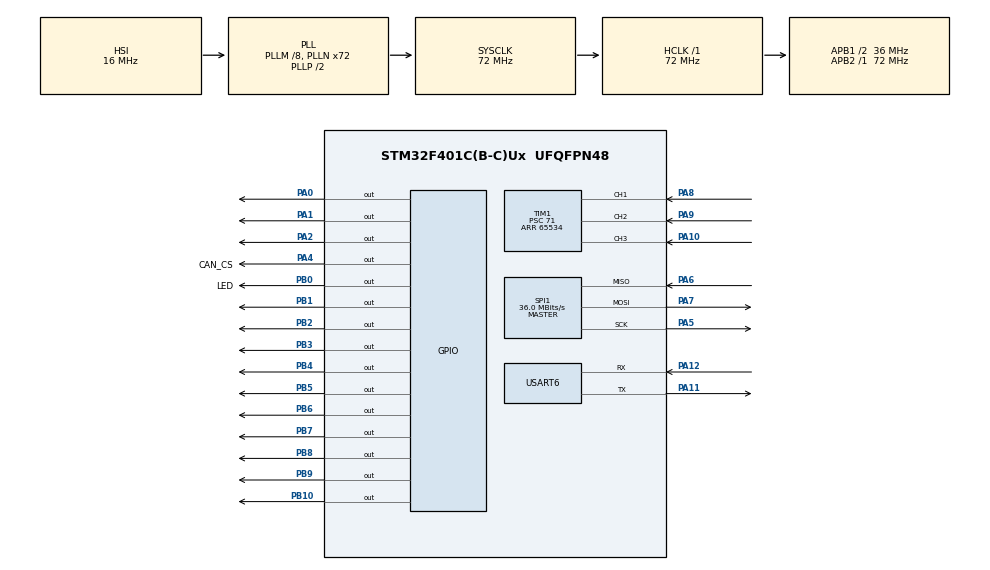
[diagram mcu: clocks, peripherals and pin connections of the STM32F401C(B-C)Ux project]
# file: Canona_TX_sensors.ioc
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Mcu.Family=STM32F4
Mcu.Name=STM32F401C(B-C)Ux
Mcu.Package=UFQFPN48
NVIC.PriorityGroup=NVIC_PRIORITYGROUP_4
NVIC.TIM1_CC_IRQn=true\:0\:0\:false\:false\:true\:true\:true\:true
PA0-WKUP.Signal=GPIO_Output
PA1.Signal=GPIO_Output
PA10.Signal=S_TIM1_CH3
PA11.Mode=Asynchronous
PA11.Signal=USART6_TX
PA12.Mode=Asynchronous
PA12.Signal=USART6_RX
PA2.Signal=GPIO_Output
PA4.GPIO_Label=CAN_CS
PA4.Signal=GPIO_Output
PA5.Mode=Full_Duplex_Master
PA5.Signal=SPI1_SCK
PA6.Mode=Full_Duplex_Master
PA6.Signal=SPI1_MISO
PA7.Mode=Full_Duplex_Master
PA7.Signal=SPI1_MOSI
PA8.Signal=S_TIM1_CH1
PA9.Signal=S_TIM1_CH2
PB0.GPIO_Label=LED
PB0.Signal=GPIO_Output
PB1.Signal=GPIO_Output
PB10.Signal=GPIO_Output
PB2.Signal=GPIO_Output
PB3.Signal=GPIO_Output
PB4.Signal=GPIO_Output
PB5.Signal=GPIO_Output
PB6.Signal=GPIO_Output
PB7.Signal=GPIO_Output
PB8.Signal=GPIO_Output
PB9.Signal=GPIO_Output
ProjectManager.HeapSize=0x200
ProjectManager.StackSize=0x400
ProjectManager.TargetToolchain=STM32CubeIDE
RCC.48MHZClocksFreq_Value=36000000
RCC.AHBFreq_Value=72000000
RCC.APB1CLKDivider=RCC_HCLK_DIV2
RCC.APB1Freq_Value=36000000
RCC.APB1TimFreq_Value=72000000
RCC.APB2Freq_Value=72000000
RCC.APB2TimFreq_Value=72000000
RCC.CortexFreq_Value=72000000
RCC.HCLKFreq_Value=72000000
RCC.HSE_VALUE=25000000
RCC.HSI_VALUE=16000000
RCC.LSE_VALUE=32768
RCC.PLLM=8
RCC.PLLN=72
RCC.SYSCLKFreq_VALUE=72000000
RCC.SYSCLKSource=RCC_SYSCLKSOURCE_PLLCLK
RCC.VCOOutputFreq_Value=144000000
SH.S_TIM1_CH1.0=TIM1_CH1,Input_Capture1_from_TI1
SH.S_TIM1_CH2.0=TIM1_CH2,Input_Capture2_from_TI2
SH.S_TIM1_CH3.0=TIM1_CH3,Input_Capture3_from_TI3
SPI1.BaudRatePrescaler=SPI_BAUDRATEPRESCALER_2
SPI1.CalculateBaudRate=36.0 MBits/s
SPI1.Direction=SPI_DIRECTION_2LINES
SPI1.Mode=SPI_MODE_MASTER
SPI1.VirtualType=VM_MASTER
TIM1.Channel-Input_Capture1_from_TI1=TIM_CHANNEL_1
TIM1.Channel-Input_Capture2_from_TI2=TIM_CHANNEL_2
TIM1.Channel-Input_Capture3_from_TI3=TIM_CHANNEL_3
TIM1.Period=65534
TIM1.Prescaler=71
USART6.VirtualMode=VM_ASYNC
VP_TIM1_VS_ClockSourceINT.Mode=Internal
board=custom

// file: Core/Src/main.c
/* USER CODE BEGIN Header */
/**
 ******************************************************************************
 * @file           : main.c
 * @brief          : Main program body
 ******************************************************************************
 * @attention
 *
 * Copyright (c) 2024 STMicroelectronics.
 * All rights reserved.
 *
 * This software is licensed under terms that can be found in the LICENSE file
 * in the root directory of this software component.
 * If no LICENSE file comes with this software, it is provided AS-IS.
 *
 ******************************************************************************
 */
/* USER CODE END Header */
#include "main.h"

/* USER CODE BEGIN Includes */
#include"CAN_SPI.h"
#include "lcd16x2.h"
/* USER CODE END Includes */

SPI_HandleTypeDef hspi1;

TIM_HandleTypeDef htim1;

UART_HandleTypeDef huart6;

/* USER CODE BEGIN PV */
uCAN_MSG txMessage;
uCAN_MSG rxMessage;
/* USER CODE END PV */

void SystemClock_Config(void);
static void MX_GPIO_Init(void);
static void MX_SPI1_Init(void);
static void MX_TIM1_Init(void);
static void MX_USART6_UART_Init(void);

/* USER CODE BEGIN 0 */
void delay_1(uint16_t time)
{
	__HAL_TIM_SET_COUNTER(&htim1 , 0);
	while(__HAL_TIM_GET_COUNTER(&htim1)<time);

}

#define TRIG_PIN_1     GPIO_PIN_0
#define TRIG_PORT_1    GPIOA
#define TRIG_PIN_2     GPIO_PIN_1
#define TRIG_PORT_2    GPIOA
#define TRIG_PIN_3     GPIO_PIN_2
#define TRIG_PORT_3    GPIOA

uint32_t IC_Val1_1 = 0;
uint32_t IC_Val2_1 = 0;
uint32_t Difference_1 = 0;
uint8_t Is_First_Captured_1 = 0;  // is the first value captured ?
uint8_t Distance_1  = 0;

uint32_t IC_Val1_2 = 0;
uint32_t IC_Val2_2 = 0;
uint32_t Difference_2 = 0;
uint8_t Is_First_Captured_2 = 0;  // is the first value captured ?
uint8_t Distance_2  = 0;

uint32_t IC_Val1_3 = 0;
uint32_t IC_Val2_3 = 0;
uint32_t Difference_3 = 0;
uint8_t Is_First_Captured_3 = 0;  // is the first value captured ?
uint8_t Distance_3  = 0;

uint8_t flag=0;
uint8_t toggle=0;

uint8_t flag_1=0;
uint8_t flag_2=0;
uint8_t flag_3=0;
uint8_t flag_4=0;
uint8_t flag_5=0;
uint8_t UART_FLAgs[5]={0};
void HAL_TIM_IC_CaptureCallback(TIM_HandleTypeDef *htim)
{
	if (htim->Channel == HAL_TIM_ACTIVE_CHANNEL_1)  // if the interrupt source is channel1
	{
		if (Is_First_Captured_1==0) // if the first value is not captured
		{
			IC_Val1_1 = HAL_TIM_ReadCapturedValue(htim, TIM_CHANNEL_1); // read the first value
			Is_First_Captured_1 = 1;  // set the first captured as true
			// Now change the polarity to falling edge
			__HAL_TIM_SET_CAPTUREPOLARITY(htim, TIM_CHANNEL_1, TIM_INPUTCHANNELPOLARITY_FALLING);
		}

		else if (Is_First_Captured_1==1)   // if the first is already captured
		{
			IC_Val2_1 = HAL_TIM_ReadCapturedValue(htim, TIM_CHANNEL_1);  // read second value
			__HAL_TIM_SET_COUNTER(htim, 0);  // reset the counter

			if (IC_Val2_1 > IC_Val1_1)
			{
				Difference_1 = IC_Val2_1-IC_Val1_1;
			}

			else if (IC_Val1_1 > IC_Val2_1)
			{
				Difference_1 = (0xffff - IC_Val1_1) + IC_Val2_1;
			}

			//Distance_1 = Difference_1 / 58 ;
			Distance_1 = Difference_1 * .034/2;
			Is_First_Captured_1 = 0; // set it back to false

			if(Distance_1 <= 80	&& Distance_1 > 60)			{
				//UART_FLAgs[0]=1;
				flag_1=1;
				flag_2=0;
			}
			else if(Distance_1 <= 60)
			{
				//UART_FLAgs[1]=1;
				flag_2=1;
				flag_1=0;
			}
			else if(Distance_1 > 80)
			{
				//UART_FLAgs[0]=0;
				//UART_FLAgs[1]=0;
				flag_1=0;
				flag_2=0;
			}

			// set polarity to rising edge
			__HAL_TIM_SET_CAPTUREPOLARITY(htim, TIM_CHANNEL_1, TIM_INPUTCHANNELPOLARITY_RISING);
			__HAL_TIM_DISABLE_IT(&htim1, TIM_IT_CC1);
			flag=1;

		}
	}

	else if (htim->Channel == HAL_TIM_ACTIVE_CHANNEL_2)  // if the interrupt source is channel2
	{
		if (Is_First_Captured_2==0) // if the first value is not captured
		{
			IC_Val1_2 = HAL_TIM_ReadCapturedValue(htim, TIM_CHANNEL_2); // read the first value
			Is_First_Captured_2 = 1;  // set the first captured as true
			// Now change the polarity to falling edge
			__HAL_TIM_SET_CAPTUREPOLARITY(htim, TIM_CHANNEL_2, TIM_INPUTCHANNELPOLARITY_FALLING);
		}

		else if (Is_First_Captured_2==1)   // if the first is already captured
		{
			IC_Val2_2 = HAL_TIM_ReadCapturedValue(htim, TIM_CHANNEL_2);  // read second value
			__HAL_TIM_SET_COUNTER(htim, 0);  // reset the counter

			if (IC_Val2_2 > IC_Val1_2)
			{
				Difference_2 = IC_Val2_2-IC_Val1_2;
			}

			else if (IC_Val1_2 > IC_Val2_2)
			{
				Difference_2 = (0xffff - IC_Val1_2) + IC_Val2_2;
			}

			//Distance_2 = Difference_2 / 58 ;
			Distance_2 = Difference_2 * .034/2;
			Is_First_Captured_2 = 0; // set it back to false

			if(Distance_2 <=20)
			{
				//UART_FLAgs[2]=1;
				flag_3=1;
			}
			else
			{
				//UART_FLAgs[2]=0;
				flag_3=0;

			}

			// set polarity to rising edge
			__HAL_TIM_SET_CAPTUREPOLARITY(htim, TIM_CHANNEL_2, TIM_INPUTCHANNELPOLARITY_RISING);
			__HAL_TIM_DISABLE_IT(&htim1, TIM_IT_CC2);

			flag=2;

		}
	}

	else if (htim->Channel == HAL_TIM_ACTIVE_CHANNEL_3)  // if the interrupt source is channel3
	{
		if (Is_First_Captured_3==0) // if the first value is not captured
		{
			IC_Val1_3 = HAL_TIM_ReadCapturedValue(htim, TIM_CHANNEL_3); // read the first value
			Is_First_Captured_3 = 1;  // set the first captured as true
			// Now change the polarity to falling edge
			__HAL_TIM_SET_CAPTUREPOLARITY(htim, TIM_CHANNEL_3, TIM_INPUTCHANNELPOLARITY_FALLING);
		}

		else if (Is_First_Captured_3==1)   // if the first is already captured
		{
			IC_Val2_3 = HAL_TIM_ReadCapturedValue(htim, TIM_CHANNEL_3);  // read second value
			__HAL_TIM_SET_COUNTER(htim, 0);  // reset the counter

			if (IC_Val2_3 > IC_Val1_3)
			{
				Difference_3 = IC_Val2_3-IC_Val1_3;
			}

			else if (IC_Val1_3 > IC_Val2_3)
			{
				Difference_3 = (0xffff - IC_Val1_3) + IC_Val2_3;
			}

			//Distance_3 = Difference_3 / 58 ;

			Distance_3 = Difference_3 * .034/2;
			Is_First_Captured_3 = 0; // set it back to false

			if(Distance_3 <= 80 && Distance_3 > 60)
			{
				//UART_FLAgs[3]=1;
				flag_4=1;
				flag_5=0;
			}
			else if(Distance_3 <= 60)
			{
				//UART_FLAgs[4]=1;
				flag_5=1;
				flag_4=0;
			}
			else if(Distance_3 > 80 )
			{
				//UART_FLAgs[3]=0;
				//UART_FLAgs[4]=0;
				flag_4=0;
				flag_5=0;
			}
			// set polarity to rising edge
			__HAL_TIM_SET_CAPTUREPOLARITY(htim, TIM_CHANNEL_3, TIM_INPUTCHANNELPOLARITY_RISING);
			__HAL_TIM_DISABLE_IT(&htim1, TIM_IT_CC3);

			flag=0;

		}
	}

}

void HCSR04_Read_1(void)
{
	//if(!HAL_GPIO_ReadPin(GPIOB, GPIO_PIN_8))//skip sensor if ECHO pin is still busy
	//	{

	HAL_GPIO_WritePin(TRIG_PORT_1, TRIG_PIN_1, GPIO_PIN_SET);  // pull the TRIG pin HIGH
	HAL_Delay(0.01);
	//delay(10);  // wait for 10 us
	HAL_GPIO_WritePin(TRIG_PORT_1, TRIG_PIN_1, GPIO_PIN_RESET);  // pull the TRIG pin low

	__HAL_TIM_ENABLE_IT(&htim1, TIM_IT_CC1);
	// }
}
void HCSR04_Read_2(void)
{
	if(!HAL_GPIO_ReadPin(GPIOB, GPIO_PIN_9))//skip sensor if ECHO pin is still busy
	{
		HAL_GPIO_WritePin(TRIG_PORT_2, TRIG_PIN_2, GPIO_PIN_SET);  // pull the TRIG pin HIGH
		HAL_Delay(0.01);
		//delay(10);  // wait for 10 us
		HAL_GPIO_WritePin(TRIG_PORT_2, TRIG_PIN_2, GPIO_PIN_RESET);  // pull the TRIG pin low

		__HAL_TIM_ENABLE_IT(&htim1, TIM_IT_CC2);
	}
}
void HCSR04_Read_3(void)
{
	if(!HAL_GPIO_ReadPin(GPIOB, GPIO_PIN_10))//skip sensor if ECHO pin is still busy
	{
		HAL_GPIO_WritePin(TRIG_PORT_3, TRIG_PIN_3, GPIO_PIN_SET);  // pull the TRIG pin HIGH
		HAL_Delay(0.01);
		//delay(10);  // wait for 10 us
		HAL_GPIO_WritePin(TRIG_PORT_3, TRIG_PIN_3, GPIO_PIN_RESET);  // pull the TRIG pin low

		__HAL_TIM_ENABLE_IT(&htim1, TIM_IT_CC3);
	}
}
/* USER CODE END 0 */

int main(void)
{

  /* MCU Configuration--------------------------------------------------------*/

  /* Reset of all peripherals, Initializes the Flash interface and the Systick. */
  HAL_Init();

  /* Configure the system clock */
  SystemClock_Config();

  /* Initialize all configured peripherals */
  MX_GPIO_Init();
  MX_SPI1_Init();
  MX_TIM1_Init();
  MX_USART6_UART_Init();
  /* USER CODE BEGIN 2 */

	HAL_TIM_IC_Init(&htim1);
	HAL_TIM_IC_Start_IT(&htim1, TIM_CHANNEL_1);
	HAL_TIM_IC_Start_IT(&htim1, TIM_CHANNEL_2);
	HAL_TIM_IC_Start_IT(&htim1, TIM_CHANNEL_3);
	lcd16x2_init_8bits( GPIOB, GPIO_PIN_1, GPIO_PIN_2, GPIOB,  GPIO_PIN_3,  GPIO_PIN_4, GPIO_PIN_5, GPIO_PIN_6, GPIOB, GPIO_PIN_7, GPIO_PIN_8, GPIO_PIN_9, GPIO_PIN_10);
	lcd16x2_clear();

	int ret;
	ret = CANSPI_Initialize();
	if(!ret){

		HAL_GPIO_WritePin(LED_GPIO_Port, LED_Pin, GPIO_PIN_SET);
		while(1){}
	}
  /* USER CODE END 2 */

  /* Infinite loop */
	while (1)
	{

    /* USER CODE BEGIN 3 */
		if(flag==0)
		{
			HCSR04_Read_1();
		}
		else if (flag==1)
		{
			HCSR04_Read_2();
		}
		else if (flag==2)
		{
			HCSR04_Read_3();
			//  HAL_Delay(500);
			///send

		}

	//	HAL_UART_Transmit(&huart6, UART_FLAgs, 5, 1000);
		txMessage.frame.idType = dSTANDARD_CAN_MSG_ID_2_0B;
		txMessage.frame.id = 0x0B;
		txMessage.frame.dlc = 8;
		txMessage.frame.data0 = toggle;
		txMessage.frame.data1 = flag_1;
		txMessage.frame.data2 = flag_2;
		txMessage.frame.data3 = flag_3;
		txMessage.frame.data4 = flag_4;
		txMessage.frame.data5 = flag_5;
		txMessage.frame.data6 = 0;
		txMessage.frame.data7 = 0;
		CANSPI_Transmit(&txMessage);
		lcd16x2_clear();
		lcd16x2_1stLine();
		lcd16x2_printf("%d/%d/%d/%d/%d",flag_1,flag_2,flag_3,flag_4,flag_5);
		//lcd16x2_printf("%d/%d/%d/%d/%d",UART_FLAgs[0],UART_FLAgs[1],UART_FLAgs[2],UART_FLAgs[3],UART_FLAgs[4]);
		lcd16x2_2ndLine();
		lcd16x2_printf("%d/%d/%d",Distance_1,Distance_2,Distance_3);

		toggle=!toggle;
		/*flag_1=0;
		flag_2=0;
		flag_3=0;
		flag_4=0;
		flag_5=0;*/
		HAL_Delay(100);

	}
  /* USER CODE END 3 */
}

void SystemClock_Config(void)
{
  RCC_OscInitTypeDef RCC_OscInitStruct = {0};
  RCC_ClkInitTypeDef RCC_ClkInitStruct = {0};

  /** Configure the main internal regulator output voltage
  */
  __HAL_RCC_PWR_CLK_ENABLE();
  __HAL_PWR_VOLTAGESCALING_CONFIG(PWR_REGULATOR_VOLTAGE_SCALE2);

  /** Initializes the RCC Oscillators according to the specified parameters
  * in the RCC_OscInitTypeDef structure.
  */
  RCC_OscInitStruct.OscillatorType = RCC_OSCILLATORTYPE_HSI;
  RCC_OscInitStruct.HSIState = RCC_HSI_ON;
  RCC_OscInitStruct.HSICalibrationValue = RCC_HSICALIBRATION_DEFAULT;
  RCC_OscInitStruct.PLL.PLLState = RCC_PLL_ON;
  RCC_OscInitStruct.PLL.PLLSource = RCC_PLLSOURCE_HSI;
  RCC_OscInitStruct.PLL.PLLM = 8;
  RCC_OscInitStruct.PLL.PLLN = 72;
  RCC_OscInitStruct.PLL.PLLP = RCC_PLLP_DIV2;
  RCC_OscInitStruct.PLL.PLLQ = 4;
  if (HAL_RCC_OscConfig(&RCC_OscInitStruct) != HAL_OK)
  {
    Error_Handler();
  }

  /** Initializes the CPU, AHB and APB buses clocks
  */
  RCC_ClkInitStruct.ClockType = RCC_CLOCKTYPE_HCLK|RCC_CLOCKTYPE_SYSCLK
                              |RCC_CLOCKTYPE_PCLK1|RCC_CLOCKTYPE_PCLK2;
  RCC_ClkInitStruct.SYSCLKSource = RCC_SYSCLKSOURCE_PLLCLK;
  RCC_ClkInitStruct.AHBCLKDivider = RCC_SYSCLK_DIV1;
  RCC_ClkInitStruct.APB1CLKDivider = RCC_HCLK_DIV2;
  RCC_ClkInitStruct.APB2CLKDivider = RCC_HCLK_DIV1;

  if (HAL_RCC_ClockConfig(&RCC_ClkInitStruct, FLASH_LATENCY_2) != HAL_OK)
  {
    Error_Handler();
  }
}

static void MX_SPI1_Init(void)
{

  /* SPI1 parameter configuration*/
  hspi1.Instance = SPI1;
  hspi1.Init.Mode = SPI_MODE_MASTER;
  hspi1.Init.Direction = SPI_DIRECTION_2LINES;
  hspi1.Init.DataSize = SPI_DATASIZE_8BIT;
  hspi1.Init.CLKPolarity = SPI_POLARITY_LOW;
  hspi1.Init.CLKPhase = SPI_PHASE_1EDGE;
  hspi1.Init.NSS = SPI_NSS_SOFT;
  hspi1.Init.BaudRatePrescaler = SPI_BAUDRATEPRESCALER_2;
  hspi1.Init.FirstBit = SPI_FIRSTBIT_MSB;
  hspi1.Init.TIMode = SPI_TIMODE_DISABLE;
  hspi1.Init.CRCCalculation = SPI_CRCCALCULATION_DISABLE;
  hspi1.Init.CRCPolynomial = 10;
  if (HAL_SPI_Init(&hspi1) != HAL_OK)
  {
    Error_Handler();
  }

}

static void MX_TIM1_Init(void)
{

  TIM_ClockConfigTypeDef sClockSourceConfig = {0};
  TIM_MasterConfigTypeDef sMasterConfig = {0};
  TIM_IC_InitTypeDef sConfigIC = {0};

  htim1.Instance = TIM1;
  htim1.Init.Prescaler = 71;
  htim1.Init.CounterMode = TIM_COUNTERMODE_UP;
  htim1.Init.Period = 65534;
  htim1.Init.ClockDivision = TIM_CLOCKDIVISION_DIV1;
  htim1.Init.RepetitionCounter = 0;
  htim1.Init.AutoReloadPreload = TIM_AUTORELOAD_PRELOAD_DISABLE;
  if (HAL_TIM_Base_Init(&htim1) != HAL_OK)
  {
    Error_Handler();
  }
  sClockSourceConfig.ClockSource = TIM_CLOCKSOURCE_INTERNAL;
  if (HAL_TIM_ConfigClockSource(&htim1, &sClockSourceConfig) != HAL_OK)
  {
    Error_Handler();
  }
  if (HAL_TIM_IC_Init(&htim1) != HAL_OK)
  {
    Error_Handler();
  }
  sMasterConfig.MasterOutputTrigger = TIM_TRGO_RESET;
  sMasterConfig.MasterSlaveMode = TIM_MASTERSLAVEMODE_DISABLE;
  if (HAL_TIMEx_MasterConfigSynchronization(&htim1, &sMasterConfig) != HAL_OK)
  {
    Error_Handler();
  }
  sConfigIC.ICPolarity = TIM_INPUTCHANNELPOLARITY_RISING;
  sConfigIC.ICSelection = TIM_ICSELECTION_DIRECTTI;
  sConfigIC.ICPrescaler = TIM_ICPSC_DIV1;
  sConfigIC.ICFilter = 0;
  if (HAL_TIM_IC_ConfigChannel(&htim1, &sConfigIC, TIM_CHANNEL_1) != HAL_OK)
  {
    Error_Handler();
  }
  if (HAL_TIM_IC_ConfigChannel(&htim1, &sConfigIC, TIM_CHANNEL_2) != HAL_OK)
  {
    Error_Handler();
  }
  if (HAL_TIM_IC_ConfigChannel(&htim1, &sConfigIC, TIM_CHANNEL_3) != HAL_OK)
  {
    Error_Handler();
  }

}

static void MX_USART6_UART_Init(void)
{

  huart6.Instance = USART6;
  huart6.Init.BaudRate = 115200;
  huart6.Init.WordLength = UART_WORDLENGTH_8B;
  huart6.Init.StopBits = UART_STOPBITS_1;
  huart6.Init.Parity = UART_PARITY_NONE;
  huart6.Init.Mode = UART_MODE_TX_RX;
  huart6.Init.HwFlowCtl = UART_HWCONTROL_NONE;
  huart6.Init.OverSampling = UART_OVERSAMPLING_16;
  if (HAL_UART_Init(&huart6) != HAL_OK)
  {
    Error_Handler();
  }

}

static void MX_GPIO_Init(void)
{
  GPIO_InitTypeDef GPIO_InitStruct = {0};

  /* GPIO Ports Clock Enable */
  __HAL_RCC_GPIOA_CLK_ENABLE();
  __HAL_RCC_GPIOB_CLK_ENABLE();

  /*Configure GPIO pin Output Level */
  HAL_GPIO_WritePin(GPIOA, GPIO_PIN_0|GPIO_PIN_1|GPIO_PIN_2|CAN_CS_Pin, GPIO_PIN_RESET);

  /*Configure GPIO pin Output Level */
  HAL_GPIO_WritePin(GPIOB, LED_Pin|GPIO_PIN_1|GPIO_PIN_2|GPIO_PIN_10
                          |GPIO_PIN_3|GPIO_PIN_4|GPIO_PIN_5|GPIO_PIN_6
                          |GPIO_PIN_7|GPIO_PIN_8|GPIO_PIN_9, GPIO_PIN_RESET);

  /*Configure GPIO pins : PA0 PA1 PA2 CAN_CS_Pin */
  GPIO_InitStruct.Pin = GPIO_PIN_0|GPIO_PIN_1|GPIO_PIN_2|CAN_CS_Pin;
  GPIO_InitStruct.Mode = GPIO_MODE_OUTPUT_PP;
  GPIO_InitStruct.Pull = GPIO_NOPULL;
  GPIO_InitStruct.Speed = GPIO_SPEED_FREQ_LOW;
  HAL_GPIO_Init(GPIOA, &GPIO_InitStruct);

  /*Configure GPIO pins : LED_Pin PB1 PB2 PB10
                           PB3 PB4 PB5 PB6
                           PB7 PB8 PB9 */
  GPIO_InitStruct.Pin = LED_Pin|GPIO_PIN_1|GPIO_PIN_2|GPIO_PIN_10
                          |GPIO_PIN_3|GPIO_PIN_4|GPIO_PIN_5|GPIO_PIN_6
                          |GPIO_PIN_7|GPIO_PIN_8|GPIO_PIN_9;
  GPIO_InitStruct.Mode = GPIO_MODE_OUTPUT_PP;
  GPIO_InitStruct.Pull = GPIO_NOPULL;
  GPIO_InitStruct.Speed = GPIO_SPEED_FREQ_LOW;
  HAL_GPIO_Init(GPIOB, &GPIO_InitStruct);

}

void Error_Handler(void)
{
	__disable_irq();
	while (1)
	{
	}
}
